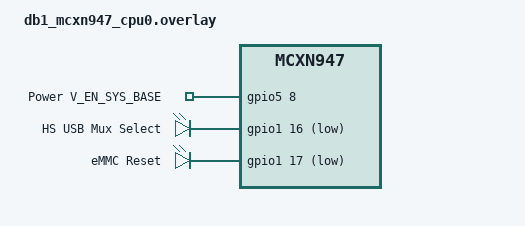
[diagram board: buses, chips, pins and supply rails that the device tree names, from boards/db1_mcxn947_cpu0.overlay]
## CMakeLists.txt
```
# SPDX-License-Identifier: Apache-2.0

cmake_minimum_required(VERSION 3.20.0)
find_package(Zephyr REQUIRED HINTS $ENV{ZEPHYR_BASE})
project(usb_test)

FILE(GLOB app_sources src/*.c)
target_sources(app PRIVATE ${app_sources})
```

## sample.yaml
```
sample:
  name: USB Speed Test
tests:
  sample.usb.test:
    build_only: true
    platform_allow: frdm_mcxn947_mcxn947_cpu0
```

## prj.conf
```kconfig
# USB Configuration
CONFIG_USB_DEVICE_STACK=y
CONFIG_USB_DEVICE_PRODUCT="USB Test sample"

CONFIG_USB_MASS_STORAGE=y
CONFIG_MASS_STORAGE_INQ_PRODUCT_ID="USB Test sample "

# Disk Access
CONFIG_DISK_ACCESS=y
CONFIG_DISK_DRIVERS=y

CONFIG_CONSOLE=y
CONFIG_UART_CONSOLE=y

# Logging
CONFIG_LOG=y
CONFIG_USB_DEVICE_LOG_LEVEL_INF=y

# Memory optimization
CONFIG_MAIN_STACK_SIZE=2048
CONFIG_SYSTEM_WORKQUEUE_STACK_SIZE=2048

CONFIG_USB_REQUEST_BUFFER_SIZE=65536
```

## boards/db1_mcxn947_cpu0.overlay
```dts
&gpio5 {
	status = "okay";
};

/ {
	aliases {

		hs-usb-sel = &hs_usb_sel;
		emmc-reset = &emmc_reset;
		power-ven-sys-base = &power_ven_sys_base;


	};

	leds {
		compatible = "gpio-leds";

		power_ven_sys_base: power_ven_sys_base {
			gpios = <&gpio5 8 GPIO_ACTIVE_HIGH>;
			label = "Power V_EN_SYS_BASE";
		};


		hs_usb_sel: hs_usb_sel {
			gpios = <&gpio1 16 GPIO_ACTIVE_LOW>;
			label = "HS USB Mux Select";
		};

		emmc_reset: emmc_reset {
			gpios = <&gpio1 17 GPIO_ACTIVE_LOW>;
			label = "eMMC Reset";
		};
	};
};
```

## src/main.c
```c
/*
 * USB Mass Storage Device with RAM Disk for Speed Testing
 * Based on Zephyr USB MSD sample
 * Returns empty blocks on read to test pure USB transfer performance
 */

#include <string.h>
#include <zephyr/device.h>
#include <zephyr/init.h>
#include <zephyr/kernel.h>
#include <zephyr/storage/disk_access.h>
#include <zephyr/sys/printk.h>
#include <zephyr/usb/class/usbd_msc.h>
#include <zephyr/usb/usb_device.h>

#include <zephyr/logging/log.h>

#include "zephyr/drivers/gpio.h"
LOG_MODULE_REGISTER(main, LOG_LEVEL_DBG);

#define RAMDISK_VOLUME_NAME "RAM"
#define RAMDISK_SECTOR_SIZE 512
#define RAMDISK_SECTOR_COUNT (2097152 / 2)
#define RAMDISK_TOTAL_SIZE (RAMDISK_SECTOR_SIZE * RAMDISK_SECTOR_COUNT)

/* Track performance metrics */
static uint32_t write_count = 0;
static uint64_t total_write_bytes = 0;

/* RAM disk interface functions */
static int ramdisk_access_status(struct disk_info *disk) {
  return DISK_STATUS_OK;
}

static int ramdisk_access_init(struct disk_info *disk) {
  LOG_DBG("RAM disk initialized: %u sectors, %u bytes per sector",
          RAMDISK_SECTOR_COUNT, RAMDISK_SECTOR_SIZE);
  return 0;
}

static int ramdisk_access_read(struct disk_info *disk, uint8_t *data_buf,
                               uint32_t start_sector, uint32_t num_sectors) {
  /* Performance optimization: return zeros without accessing storage */
  memset(data_buf, 0, num_sectors * RAMDISK_SECTOR_SIZE);

  return 0;
}

static int ramdisk_access_write(struct disk_info *disk, const uint8_t *data_buf,
                                uint32_t start_sector, uint32_t num_sectors) {
  uint32_t offset = start_sector * RAMDISK_SECTOR_SIZE;
  uint32_t size = num_sectors * RAMDISK_SECTOR_SIZE;

  /* Bounds checking */
  if (offset + size > RAMDISK_TOTAL_SIZE) {
    LOG_ERR("Write beyond disk bounds");
    return -EINVAL;
  }

  /* Update performance counters */
  write_count++;
  total_write_bytes += size;

  return 0;
}

static int ramdisk_access_ioctl(struct disk_info *disk, uint8_t cmd,
                                void *buff) {
  switch (cmd) {
  case DISK_IOCTL_CTRL_INIT:
    return 0;
  case DISK_IOCTL_CTRL_DEINIT:
    return 0;
  case DISK_IOCTL_CTRL_SYNC:
    return 0;
  case DISK_IOCTL_GET_SECTOR_COUNT:
    *(uint32_t *)buff = RAMDISK_SECTOR_COUNT;
    return 0;
  case DISK_IOCTL_GET_SECTOR_SIZE:
    *(uint32_t *)buff = RAMDISK_SECTOR_SIZE;
    return 0;
  case DISK_IOCTL_GET_ERASE_BLOCK_SZ:
    *(uint32_t *)buff = 1;
    return 0;
  default:
    return -EINVAL;
  }
}

static const struct disk_operations ramdisk_ops = {
    .init = ramdisk_access_init,
    .status = ramdisk_access_status,
    .read = ramdisk_access_read,
    .write = ramdisk_access_write,
    .ioctl = ramdisk_access_ioctl,
};

static struct disk_info ramdisk_info = {
    .name = RAMDISK_VOLUME_NAME,
    .ops = &ramdisk_ops,
};

/* Initialize RAM disk */
static int ramdisk_init(void) {
  /* Register the disk */
  return disk_access_register(&ramdisk_info);
}

USBD_DEFINE_MSC_LUN(ram, "RAM", "Zephyr", "RAMDisk", "0.00");

int main(void) {
  int ret;

  LOG_INF("USB Mass Storage Device Speed Test");
  LOG_INF("RAM Disk Size: %u KB (%u sectors)", RAMDISK_TOTAL_SIZE / 1024,
          RAMDISK_SECTOR_COUNT);

  /* Enable USB device */
  ret = usb_enable(NULL);
  if (ret != 0) {
    LOG_ERR("Failed to enable USB: %d", ret);
    return ret;
  }

  LOG_INF("USB MSD enabled. Connect to host and run speed tests.");
  LOG_INF("Example: dd if=/dev/sdX of=/dev/null bs=64k count=16");

  return 0;
}

#ifdef CONFIG_BOARD_DB1
#define POWER_VEN_SYS_BASE DT_ALIAS(power_ven_sys_base)
#define HS_USB_SEL DT_ALIAS(hs_usb_sel)

static const struct gpio_dt_spec ven_sys_base = GPIO_DT_SPEC_GET(POWER_VEN_SYS_BASE, gpios);
static const struct gpio_dt_spec hs_usb_sel = GPIO_DT_SPEC_GET(HS_USB_SEL, gpios);

static int auto_early_power_up(void) {
  gpio_pin_configure_dt(&ven_sys_base, GPIO_OUTPUT_LOW);
  gpio_pin_set_dt(&ven_sys_base, 1);

  /* Configure USB mux - active low, set to 0 to enable */
  gpio_pin_configure_dt(&hs_usb_sel, GPIO_OUTPUT);
  gpio_pin_set_dt(&hs_usb_sel, 0);

  return 0;
}

SYS_INIT(auto_early_power_up, POST_KERNEL, 50);
#endif


SYS_INIT(ramdisk_init, POST_KERNEL, CONFIG_KERNEL_INIT_PRIORITY_DEFAULT);
```
